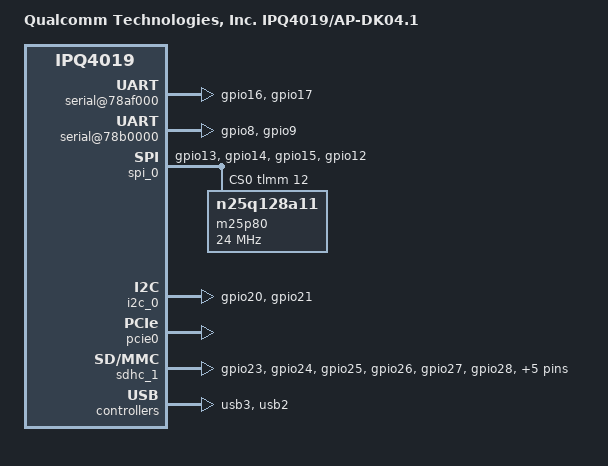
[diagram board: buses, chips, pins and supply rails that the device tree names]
/* Copyright (c) 2015 - 2016, The Linux Foundation. All rights reserved.
 *
 * Permission to use, copy, modify, and/or distribute this software for any
 * purpose with or without fee is hereby granted, provided that the above
 * copyright notice and this permission notice appear in all copies.
 *
 * THE SOFTWARE IS PROVIDED "AS IS" AND THE AUTHOR DISCLAIMS ALL WARRANTIES
 * WITH REGARD TO THIS SOFTWARE INCLUDING ALL IMPLIED WARRANTIES OF
 * MERCHANTABILITY AND FITNESS. IN NO EVENT SHALL THE AUTHOR BE LIABLE FOR
 * ANY SPECIAL, DIRECT, INDIRECT, OR CONSEQUENTIAL DAMAGES OR ANY DAMAGES
 * WHATSOEVER RESULTING FROM LOSS OF USE, DATA OR PROFITS, WHETHER IN AN
 * ACTION OF CONTRACT, NEGLIGENCE OR OTHER TORTIOUS ACTION, ARISING OUT OF
 * OR IN CONNECTION WITH THE USE OR PERFORMANCE OF THIS SOFTWARE.
 *
 */

#include "qcom-ipq4019.dtsi"

/ {
	model = "Qualcomm Technologies, Inc. IPQ4019/AP-DK04.1";
	compatible = "qcom,ipq4019";

	aliases {
		sdhc1 = &sdhc_1;
	};

	soc {
		pinctrl@0x01000000 {
			serial_0_pins: serial0_pinmux {
				mux {
					pins = "gpio16", "gpio17";
					function = "blsp_uart0";
					bias-disable;
				};
			};

			serial_1_pins: serial1_pinmux {
				mux {
					pins = "gpio8", "gpio9";
					function = "blsp_uart1";
					bias-disable;
				};
			};

			uart1_pins: uart1_pinmux {
				mux {
					pins = "gpio8", "gpio9",
						"gpio10", "gpio11";
					function = "blsp_uart1";
					bias-disable;
				};
			};

			spi_0_pins: spi_0_pinmux {
				pinmux {
					function = "blsp_spi0";
					pins = "gpio13", "gpio14", "gpio15";
					drive-strength = <12>;
					bias-disable;
				};
				pinmux_cs {
					function = "gpio";
					pins = "gpio12";
					drive-strength = <2>;
					bias-disable;
					output-high;
				};
			};

			i2c_0_pins: i2c_0_pinmux {
				mux {
					pins = "gpio20", "gpio21";
					function = "blsp_i2c0";
					bias-disable;
				};
			};

			sd_0_pins: sd_0_pinmux {
				sd0 {
					pins = "gpio23";
					function = "sdio0";
					drive-strength = <10>;
				};
				sd1 {
					pins = "gpio24";
					function = "sdio1";
					drive-strength = <10>;
				};
				sd2 {
					pins = "gpio25";
					function = "sdio2";
					drive-strength = <10>;
				};
				sd3 {
					pins = "gpio26";
					function = "sdio3";
					drive-strength = <10>;
				};
				sdclk {
					pins = "gpio27";
					function = "sdio_clk";
					drive-strength = <16>;
				};
				sdcmd {
					pins = "gpio28";
					function = "sdio_cmd";
					drive-strength = <10>;
				};
				sd4 {
					pins = "gpio29";
					function = "sdio4";
					drive-strength = <10>;
				};
				sd5 {
					pins = "gpio30";
					function = "sdio5";
					drive-strength = <10>;
				};
				sd6 {
					pins = "gpio31";
					function = "sdio6";
					drive-strength = <10>;
				};
				sd7 {
					pins = "gpio32";
					function = "sdio7";
					drive-strength = <10>;
					bias-disable;
				};
			};

			sd_1_pins: sd_1_pinmux {
				sd0 {
					pins = "gpio23";
					function = "sdio0";
					drive-strength = <2>;
				};
				sd1 {
					pins = "gpio24";
					function = "sdio1";
					drive-strength = <2>;
				};
				sd2 {
					pins = "gpio25";
					function = "sdio2";
					drive-strength = <2>;
				};
				sd3 {
					pins = "gpio26";
					function = "sdio3";
					drive-strength = <2>;
				};
				sdclk {
					pins = "gpio27";
					function = "sdio_clk";
					drive-strength = <2>;
				};
				sdcmd {
					pins = "gpio28";
					function = "sdio_cmd";
					drive-strength = <2>;
				};
				sd4 {
					pins = "gpio29";
					function = "sdio4";
					drive-strength = <2>;
				};
				sd5 {
					pins = "gpio30";
					function = "sdio5";
					drive-strength = <2>;
				};
				sd6 {
					pins = "gpio31";
					function = "sdio6";
					drive-strength = <2>;
				};
				sd7 {
					pins = "gpio32";
					function = "sdio7";
					drive-strength = <2>;
					bias-disable;
				};
			};

		};

		serial@78af000 {
			pinctrl-0 = <&serial_0_pins>;
			pinctrl-names = "default";
			status = "ok";
		};

		serial@78b0000 {
			pinctrl-0 = <&serial_1_pins>;
			pinctrl-names = "default";
			status = "ok";
		};

		uart1:uart@78b0000 {
			pinctrl-0 = <&uart1_pins>;
			pinctrl-1 = <&uart1_pins>;
			pinctrl-names = "default", "sleep";
			status = "disabled";
		};

		spi_0: spi@78b5000 { /* BLSP1 QUP1 */
			pinctrl-0 = <&spi_0_pins>;
			pinctrl-names = "default";
			status = "ok";
			cs-gpios = <&tlmm 12 0>;

			m25p80@0 {
				#address-cells = <1>;
				#size-cells = <1>;
				reg = <0>;
				compatible = "n25q128a11";
				linux,modalias = "m25p80", "n25q128a11";
				spi-max-frequency = <24000000>;
				use-default-sizes;
			};
		};

		i2c_0: i2c@78b7000 { /* BLSP1 QUP2 */
			pinctrl-0 = <&i2c_0_pins>;
			pinctrl-names = "default";
			status = "ok";
		};

		pcie0: pci@40000000 {
			status = "ok";
			perst-gpio = <&tlmm 38 0x1>;
		};

		sdhc_1: sdhci@7824000{
			status = "ok";
			qcom,bus-speed-mode = "HS200_1p8v", "DDR_1p8v";
			qcom,clk-rates = <400000 25000000 50000000 100000000 \
					 192000000 384000000>;
			pinctrl-0 = <&sd_0_pins>;
			pinctrl-1 = <&sd_1_pins>;
			pinctrl-names = "active", "sleep";
			cd-gpios = <&tlmm 22 0x1>;
			sd-ldo-gpios = <&tlmm 33 0x1>;
			qcom,nonremovable;
		};

		usb3_ss_phy: ssphy@0 {
			status = "ok";
		};

		usb3_hs_phy: hsphy@a6000 {
			status = "ok";
		};

		usb2_hs_phy: hsphy@a8000 {
			status = "ok";
		};

		usb3: usb3@8a00000 {
			status = "ok";
		};

		usb2: usb2@6000000 {
			status = "ok";
		};
	};
};
